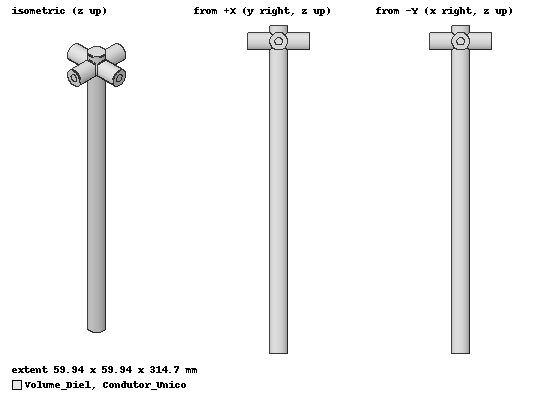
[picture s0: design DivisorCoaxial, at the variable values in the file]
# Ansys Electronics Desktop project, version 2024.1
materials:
  vacuum: permittivity=1
  Ar: permittivity=1.0006 permeability=1
  pec: conductivity=1e+30
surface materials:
  Steel-oxidised-surface

design DivisorCoaxial (HFSS, HFSS Modal Network, model units mm)
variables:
  comp_total = 314.68769mm
  comp_secoes = 299.70256mm
  dia_int_tubo = 17mm
  dia_saida_diel = dia_int_tubo
  dia_saida_cond = 7.381395mm
  comp_saida = 29.970256mm
  dia_sc1 = 8.4291415mm
  dia_sc2 = 10.351847mm
  dia_sc3 = 11.970606mm
  dia_sc4 = 13.265798mm
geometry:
  Volume_Diel [Ar] = cylinder(axis=Z, base_centre=(0mm, 0mm, 0mm), radius=dia_int_tubo/2, height=comp_total)
  Condutor_Unico [pec] = cylinder(axis=Z, base_centre=(0mm, 0mm, 0mm), radius=dia_sc1/2, height=74.92564mm)
  Cond_Sec2 = cylinder(axis=Z, base_centre=(0mm, 0mm, 74.92564mm), radius=dia_sc2/2, height=74.92564mm)
  Cond_Sec3 = cylinder(axis=Z, base_centre=(0mm, 0mm, 149.85128mm), radius=dia_sc3/2, height=74.92564mm)
  Cond_Sec4 = cylinder(axis=Z, base_centre=(0mm, 0mm, 224.77692mm), radius=dia_sc4/2, height=74.92564mm)
  Output_Outer_1 = cylinder(axis=X, base_centre=(0mm, 0mm, comp_secoes), radius=dia_saida_diel/2, height=comp_saida)
  Output_Inner_1 = cylinder(axis=X, base_centre=(0mm, 0mm, comp_secoes), radius=dia_saida_cond/2, height=comp_saida)
  Output_Outer_1_1, Output_Outer_1_2, Output_Outer_1_3 = Output_Outer_1.duplicate_around_axis(axis=Z, angle=360deg/4, total=4)
  Output_Inner_1_1, Output_Inner_1_2, Output_Inner_1_3 = Output_Inner_1.duplicate_around_axis(axis=Z, angle=360deg/4, total=4)
  Volume_Diel.unite(Output_Outer_1, Output_Outer_1_1, Output_Outer_1_2, Output_Outer_1_3)
  Condutor_Unico.unite(Cond_Sec2, Cond_Sec3, Cond_Sec4, Output_Inner_1, Output_Inner_1_1, Output_Inner_1_2, Output_Inner_1_3)
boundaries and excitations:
  P1: Wave Port Faces=Volume_Diel.face(-z end) WavePortType=Modal NumModes=1 Modes{Mode1{CharImp=Zpi RenormImp=50ohm}}
  P2: Wave Port Faces=Volume_Diel.face(at (29.9703, 0, 299.703)) WavePortType=Modal NumModes=1 Modes{Mode1{CharImp=Zpi RenormImp=50ohm}}
  P3: Wave Port Faces=Volume_Diel.face(at (0, 29.9703, 299.703)) WavePortType=Modal NumModes=1 Modes{Mode1{CharImp=Zpi RenormImp=50ohm}}
  P4: Wave Port Faces=Volume_Diel.face(at (-29.9703, 0, 299.703)) WavePortType=Modal NumModes=1 Modes{Mode1{CharImp=Zpi RenormImp=50ohm}}
  P5: Wave Port Faces=Volume_Diel.face(at (0, -29.9703, 299.703)) WavePortType=Modal NumModes=1 Modes{Mode1{CharImp=Zpi RenormImp=50ohm}}
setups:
  Setup1: HfssDriven Frequency=1GHz MaxDeltaS=0.02 MaximumPasses=8 MinimumPasses=1 MinimumConvergedPasses=1 PercentRefinement=30 BasisOrder=1 PortAccuracy=2 DrivenSolverType="Direct Solver"
    sweep Sweep1: 800MHz to 1200MHz, 201 points; Type=Fast
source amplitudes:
  P1:1: 1W 0deg
  P2:1, P3:1, P4:1, P5:1: 0W 0deg
